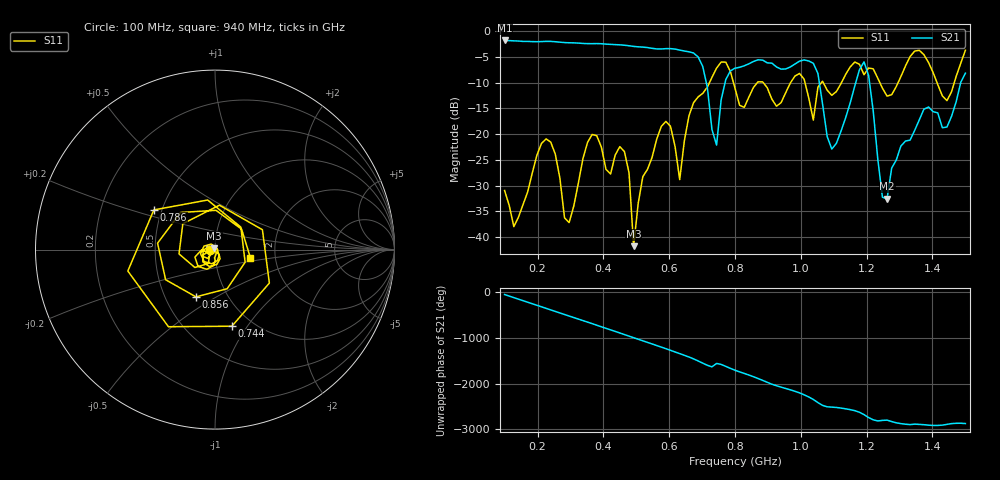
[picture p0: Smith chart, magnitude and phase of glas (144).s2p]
! NanoVNA-App
! Date: 2025-09-25 15:56:35
! Start: 100MHz Stop: 1,5GHz Points: 101
! S-Parameter data: F S11 S21 S12 S22
# Hz S RI R 50
!  Frequency  S11_Real  S11_Imag  S21_Real  S21_Imag  S12_Real  S12_Imag  S22_Real  S22_Imag
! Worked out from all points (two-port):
!   101 points, 100 MHz to 1.5 GHz, reference 50 ohm
!   highest |S21| = -1.80 dB at 100 MHz (marker M1); lowest = -32.6 dB at 1.262 GHz (marker M2)
!   |S21| within 3 dB of the highest: start of sweep to 684.3 MHz
!   lowest |S11| = -41.8 dB at 492 MHz (marker M3), VSWR 1.02, Z = 49.5 + j0.648 ohm
!   |S11| at or under -10 dB: start of sweep to 722.4 MHz; 795.3 MHz to 867.9 MHz (72.57 MHz wide, 8.73 % of centre); 885.9 MHz to 968.8 MHz (82.89 MHz wide, 8.94 % of centre) (the widest 3 of 7)
!   S12 and S22 are empty: the file has one direction only
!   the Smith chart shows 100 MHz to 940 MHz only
!   S11 on the Smith chart (normalised r, x): 100 MHz: 0.95, -0.01; 744 MHz: 0.81, -0.85; 786 MHz: 0.45, +0.24; 856 MHz: 0.71, -0.41; 940 MHz: 1.48, -0.14
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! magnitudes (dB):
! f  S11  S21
! 100 MHz  -31.0  -1.8
! 128 MHz  -38.0  -1.9
! 226 MHz  -20.9  -2.0
! 296 MHz  -37.2  -2.2
! 338 MHz  -24.8  -2.4
! 464 MHz  -23.4  -2.7
! 492 MHz  -41.8  -3.0
! 576 MHz  -18.5  -3.5
! 632 MHz  -28.8  -3.7
! 702 MHz  -12.1  -6.9
! 744 MHz  -7.2  -22.1
! 786 MHz  -7.8  -7.7
! 800 MHz  -11.1  -7.2
! 856 MHz  -10.9  -5.9
! 940 MHz  -13.9  -7.4
! 1.038 GHz  -17.3  -6.2
! 1.094 GHz  -12.5  -22.9
! 1.192 GHz  -8.5  -6.0
! 1.262 GHz  -12.6  -32.6
! 1.276 GHz  -12.3  -26.6
! 1.444 GHz  -13.5  -18.6
! 1.5 GHz  -3.7  -8.2
